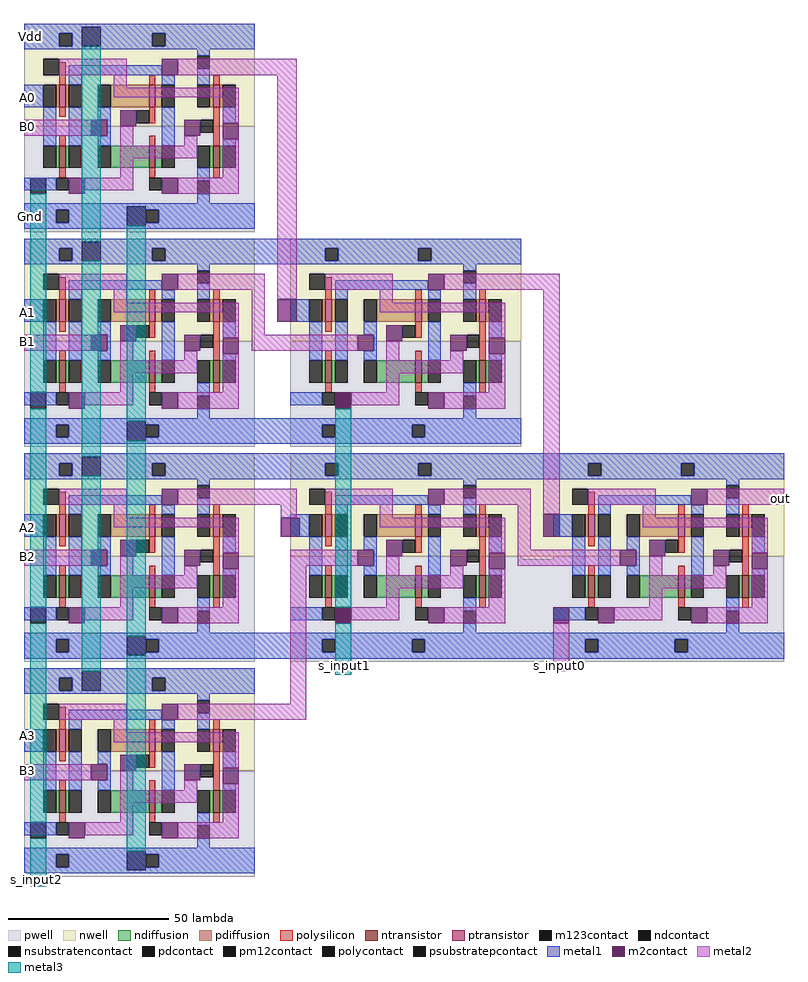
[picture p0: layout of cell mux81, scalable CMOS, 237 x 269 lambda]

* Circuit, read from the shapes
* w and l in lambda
.subckt mux81 A0 A1 A2 A3 B0 B1 B2 B3 Gnd Vdd out s_input0 s_input1 s_input2
M1 mux21_5/B s_input2 A3 Gnd nfet w=7 l=2
M2 mux21_5/A s_input2 A2 Gnd nfet w=7 l=2
M3 mux21_4/B s_input2 A1 Gnd nfet w=7 l=2
M4 mux21_4/A s_input2 A0 Gnd nfet w=7 l=2
M5 mux21_5/B n1 B3 Gnd nfet w=7 l=2
M6 mux21_5/A n2 B2 Gnd nfet w=7 l=2
M7 mux21_4/B n3 B1 Gnd nfet w=7 l=2
M8 mux21_4/A n4 B0 Gnd nfet w=7 l=2
M9 n1 s_input2 Gnd Gnd nfet w=7 l=2
M10 n2 s_input2 Gnd Gnd nfet w=7 l=2
M11 n3 s_input2 Gnd Gnd nfet w=7 l=2
M12 n4 s_input2 Gnd Gnd nfet w=7 l=2
M13 mux21_6/B s_input1 mux21_5/A Gnd nfet w=7 l=2
M14 mux21_6/A s_input1 mux21_4/A Gnd nfet w=7 l=2
M15 mux21_6/B n5 mux21_5/B Gnd nfet w=7 l=2
M16 mux21_6/A n6 mux21_4/B Gnd nfet w=7 l=2
M17 n5 s_input1 Gnd Gnd nfet w=7 l=2
M18 n6 s_input1 Gnd Gnd nfet w=7 l=2
M19 out s_input0 mux21_6/A Gnd nfet w=7 l=2
M20 out n7 mux21_6/B Gnd nfet w=7 l=2
M21 n7 s_input0 Gnd Gnd nfet w=7 l=2
M22 mux21_5/B n1 A3 Vdd pfet w=7 l=2
M23 mux21_5/A n2 A2 Vdd pfet w=7 l=2
M24 mux21_4/B n3 A1 Vdd pfet w=7 l=2
M25 mux21_4/A n4 A0 Vdd pfet w=7 l=2
M26 mux21_5/B s_input2 B3 Vdd pfet w=7 l=2
M27 mux21_5/A s_input2 B2 Vdd pfet w=7 l=2
M28 mux21_4/B s_input2 B1 Vdd pfet w=7 l=2
M29 mux21_4/A s_input2 B0 Vdd pfet w=7 l=2
M30 n1 s_input2 Vdd Vdd pfet w=7 l=2
M31 n2 s_input2 Vdd Vdd pfet w=7 l=2
M32 n3 s_input2 Vdd Vdd pfet w=7 l=2
M33 n4 s_input2 Vdd Vdd pfet w=7 l=2
M34 mux21_6/B n5 mux21_5/A Vdd pfet w=7 l=2
M35 mux21_6/A n6 mux21_4/A Vdd pfet w=7 l=2
M36 mux21_6/B s_input1 mux21_5/B Vdd pfet w=7 l=2
M37 mux21_6/A s_input1 mux21_4/B Vdd pfet w=7 l=2
M38 n5 s_input1 Vdd Vdd pfet w=7 l=2
M39 n6 s_input1 Vdd Vdd pfet w=7 l=2
M40 out n7 mux21_6/A Vdd pfet w=7 l=2
M41 out s_input0 mux21_6/B Vdd pfet w=7 l=2
M42 n7 s_input0 Vdd Vdd pfet w=7 l=2
.ends

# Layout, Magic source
magic
tech scmos
<< nwell >>
rect 154 -101 173 -69
<< pwell >>
rect 32 -132 38 -126
rect 152 -134 171 -102
<< metal1 >>
rect 0 57 5 65
rect 0 39 3 46
rect 0 1 5 9
rect 71 -10 85 -2
rect 0 -28 3 -21
rect 71 -66 85 -58
rect 72 -77 86 -69
rect 154 -77 167 -69
rect 0 -95 3 -88
rect 71 -133 85 -125
rect 153 -133 166 -125
rect 0 -162 3 -155
<< m2contact >>
rect 79 -28 85 -21
rect 80 -95 86 -89
rect 162 -95 167 -88
rect 165 -122 170 -117
<< metal2 >>
rect 72 49 85 54
rect 0 30 3 35
rect 71 -32 75 -13
rect 79 -21 85 49
rect 155 -18 167 -13
rect 0 -37 3 -32
rect 71 -37 84 -32
rect 71 -85 85 -80
rect 80 -89 85 -85
rect 154 -99 158 -80
rect 162 -88 167 -18
rect 234 -85 237 -80
rect 0 -104 3 -99
rect 83 -147 88 -99
rect 154 -104 165 -99
rect 165 -137 170 -122
rect 72 -152 88 -147
rect 0 -171 3 -166
<< m123contact >>
rect 18 58 24 64
rect 2 12 7 17
rect 32 2 38 8
rect 18 -9 24 -3
rect 2 -55 7 -50
rect 97 -55 102 -50
rect 32 -65 38 -59
rect 18 -76 24 -70
rect 2 -122 7 -117
rect 32 -132 38 -126
rect 18 -143 24 -137
rect 97 -122 102 -117
rect 2 -189 7 -184
rect 32 -199 38 -193
<< metal3 >>
rect 2 -50 7 12
rect 2 -117 7 -55
rect 2 -184 7 -122
rect 18 -3 24 58
rect 18 -70 24 -9
rect 18 -137 24 -76
rect 32 -59 38 2
rect 32 -126 38 -65
rect 2 -204 7 -189
rect 32 -193 38 -132
rect 97 -117 102 -55
rect 97 -138 102 -122
use mux21  mux21_0
transform 1 0 41 0 1 18
box -41 -18 31 47
use mux21  mux21_1
transform 1 0 41 0 1 -49
box -41 -18 31 47
use mux21  mux21_4
transform 1 0 124 0 1 -49
box -41 -18 31 47
use mux21  mux21_2
transform 1 0 41 0 1 -116
box -41 -18 31 47
use mux21  mux21_5
transform 1 0 124 0 1 -116
box -41 -18 31 47
use mux21  mux21_6
transform 1 0 206 0 1 -116
box -41 -18 31 47
use mux21  mux21_3
transform 1 0 41 0 1 -183
box -41 -18 31 47
<< labels >>
rlabel metal2 236 -83 236 -83 7 out
rlabel metal1 1 42 1 42 3 A0
rlabel metal2 1 33 1 33 3 B0
rlabel metal1 1 -25 1 -25 3 A1
rlabel metal2 1 -34 1 -34 3 B1
rlabel metal1 1 -92 1 -92 3 A2
rlabel metal2 1 -101 1 -101 3 B2
rlabel metal1 1 -157 1 -157 3 A3
rlabel metal2 1 -168 1 -168 3 B3
rlabel metal1 2 61 2 61 4 Vdd
rlabel metal1 2 5 2 5 3 Gnd
rlabel metal3 4 -202 4 -202 2 s_input2
rlabel metal3 100 -135 100 -135 1 s_input1
rlabel metal2 167 -135 167 -135 1 s_input0
<< end >>

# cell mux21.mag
magic
tech scmos
<< nwell >>
rect -41 15 31 47
<< pwell >>
rect -41 -18 31 15
<< ntransistor >>
rect -30 2 -28 9
rect -2 2 0 9
rect 18 2 20 9
<< ptransistor >>
rect -30 21 -28 28
rect -2 21 0 28
rect 18 21 20 28
<< ndiffusion >>
rect -31 2 -30 9
rect -28 2 -27 9
rect -14 2 -2 9
rect 0 2 2 9
rect 17 2 18 9
rect 20 2 21 9
<< pdiffusion >>
rect -31 21 -30 28
rect -28 21 -27 28
rect -14 21 -2 28
rect 0 21 2 28
rect 17 21 18 28
rect 20 21 21 28
<< ndcontact >>
rect -35 2 -31 9
rect -27 2 -23 9
rect -18 2 -14 9
rect 2 2 6 9
rect 13 2 17 9
rect 21 2 25 9
<< pdcontact >>
rect -35 21 -31 28
rect -27 21 -23 28
rect -18 21 -14 28
rect 2 21 6 28
rect 13 21 17 28
rect 21 21 25 28
<< psubstratepcontact >>
rect 13 -6 17 -2
rect -31 -15 -27 -11
rect -3 -15 1 -11
<< nsubstratencontact >>
rect -30 40 -26 44
rect -1 40 3 44
rect 13 33 17 37
<< polysilicon >>
rect -30 28 -28 35
rect -2 28 0 31
rect 18 28 20 31
rect -30 18 -28 21
rect -2 16 0 21
rect -30 9 -28 12
rect -2 9 0 12
rect 18 9 20 21
rect -30 -1 -28 2
rect -2 -1 0 2
rect 18 -1 20 2
<< polycontact >>
rect -6 16 -2 20
rect 14 13 18 17
rect -31 -5 -27 -1
rect -2 -5 2 -1
<< metal1 >>
rect -41 44 31 47
rect -41 40 -30 44
rect -26 40 -1 44
rect 3 40 31 44
rect -41 39 31 40
rect 13 37 17 39
rect -27 31 2 34
rect -27 28 -23 31
rect 2 28 6 31
rect -41 21 -35 28
rect -35 9 -31 21
rect -27 9 -23 21
rect -18 17 -14 21
rect 13 28 17 33
rect -15 12 -14 17
rect -18 9 -14 12
rect 2 9 6 21
rect 21 16 25 21
rect 21 9 25 11
rect -41 -5 -31 -1
rect 13 -2 17 2
rect 13 -9 17 -6
rect -41 -11 31 -9
rect -41 -15 -31 -11
rect -27 -15 -3 -11
rect 1 -15 31 -11
rect -41 -17 31 -15
<< m2contact >>
rect 2 31 7 36
rect -20 12 -15 17
rect -11 15 -6 20
rect 9 12 14 17
rect 21 11 26 16
rect -27 -6 -22 -1
rect 2 -6 7 -1
<< pm12contact >>
rect -35 31 -30 36
<< metal2 >>
rect -30 31 -9 36
rect 7 31 31 36
rect -13 27 -9 31
rect -13 24 26 27
rect -41 12 -20 17
rect -11 9 -7 15
rect 21 16 26 24
rect 9 9 13 12
rect -11 5 13 9
rect -11 -1 -7 5
rect 21 -1 26 11
rect -22 -5 -7 -1
rect 7 -6 26 -1
<< labels >>
rlabel metal1 -32 43 -32 43 5 Vdd
rlabel metal1 -33 -14 -33 -14 1 Gnd
rlabel metal2 29 33 29 33 7 out
rlabel metal1 -40 25 -40 25 3 A
rlabel metal2 -40 14 -40 14 3 B
rlabel metal1 -38 -3 -38 -3 3 s
<< end >>
